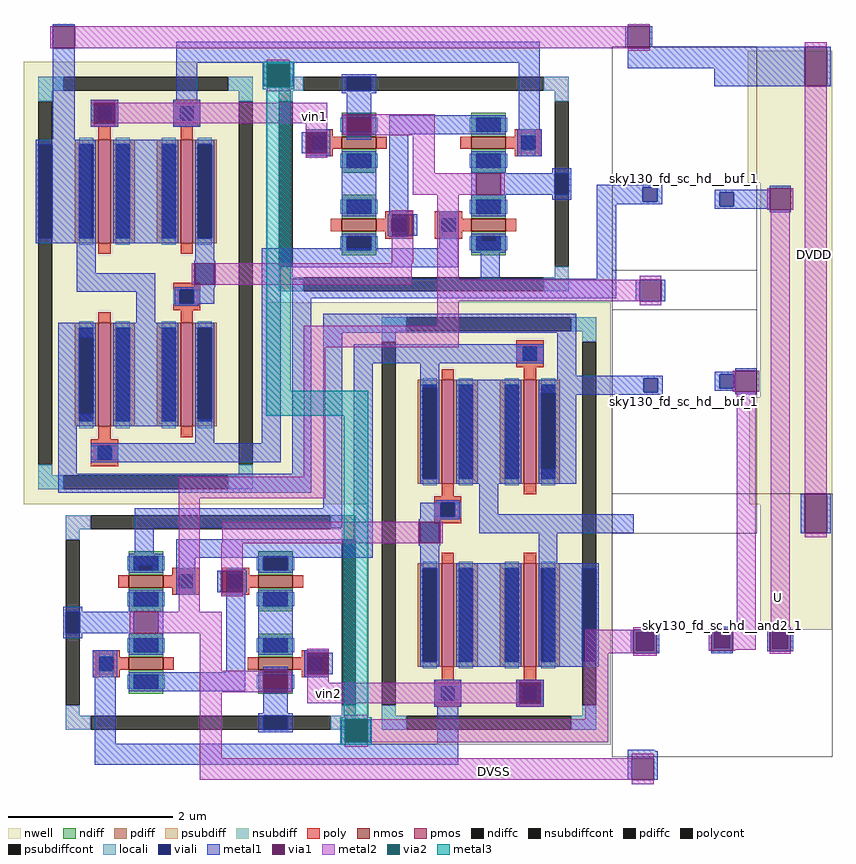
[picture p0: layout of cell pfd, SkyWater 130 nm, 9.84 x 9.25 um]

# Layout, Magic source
magic
tech sky130A
magscale 1 2
<< nwell >>
rect 1762 782 1968 1103
rect 594 1 848 491
rect 1792 260 1968 782
rect 594 0 835 1
rect 1429 -306 1432 260
rect 1765 -1 1968 260
rect 1792 -306 1968 -1
<< viali >>
rect 1507 736 1542 771
rect 1694 725 1728 759
rect 1509 272 1543 306
rect 1694 282 1728 316
rect 1489 -357 1534 -312
rect 1679 -351 1719 -311
rect 1821 -352 1861 -312
<< metal1 >>
rect 71 1162 124 1168
rect 1464 1109 1470 1162
rect 1523 1113 1529 1162
rect 1523 1109 1901 1113
rect 71 829 124 1109
rect 584 1069 656 1096
rect 584 1016 594 1069
rect 646 1016 656 1069
rect 1470 1060 1901 1109
rect 1681 1017 1901 1060
rect 1954 1017 1964 1113
rect 1395 771 1554 777
rect 1395 736 1507 771
rect 1542 736 1554 771
rect 1815 768 1867 774
rect 1395 730 1554 736
rect 1682 759 1815 765
rect 1395 548 1442 730
rect 1682 725 1694 759
rect 1728 725 1815 759
rect 1682 719 1815 725
rect 1815 710 1867 716
rect 1109 501 1442 548
rect 1489 494 1499 546
rect 1551 494 1561 546
rect 1732 325 1784 331
rect 1682 316 1732 322
rect 1299 306 1555 312
rect 1299 272 1509 306
rect 1543 272 1555 306
rect 1682 282 1694 316
rect 1728 282 1732 316
rect 1682 276 1732 282
rect 1299 266 1555 272
rect 1732 267 1784 273
rect 1225 -71 1484 -25
rect 1891 -71 1901 25
rect 1954 -71 1964 25
rect 1673 -305 1725 -299
rect 1477 -363 1483 -306
rect 1540 -363 1546 -306
rect 1673 -363 1725 -357
rect 1809 -358 1815 -306
rect 1867 -358 1873 -306
rect 773 -578 783 -525
rect 835 -578 845 -525
rect 773 -606 845 -578
rect 1470 -600 1535 -598
rect 1474 -601 1539 -600
rect 1470 -618 1543 -601
rect 1470 -671 1480 -618
rect 1533 -671 1543 -618
<< via1 >>
rect 71 1109 124 1162
rect 1470 1109 1523 1162
rect 594 1016 646 1069
rect 1901 1017 1954 1113
rect 1815 716 1867 768
rect 1499 494 1551 546
rect 1732 273 1784 325
rect 1901 -71 1954 25
rect 1483 -312 1540 -306
rect 1483 -357 1489 -312
rect 1489 -357 1534 -312
rect 1534 -357 1540 -312
rect 1483 -363 1540 -357
rect 1673 -311 1725 -305
rect 1673 -351 1679 -311
rect 1679 -351 1719 -311
rect 1719 -351 1725 -311
rect 1673 -357 1725 -351
rect 1815 -312 1867 -306
rect 1815 -352 1821 -312
rect 1821 -352 1861 -312
rect 1861 -352 1867 -312
rect 1815 -358 1867 -352
rect 783 -578 835 -525
rect 1480 -671 1533 -618
<< metal2 >>
rect 1470 1162 1523 1168
rect 65 1109 71 1162
rect 124 1109 1470 1162
rect 1470 1103 1523 1109
rect 1901 1113 1954 1123
rect 592 1071 648 1081
rect 592 1004 648 1014
rect 690 932 722 953
rect 1007 546 1059 805
rect 1809 716 1815 768
rect 1867 716 1873 768
rect 1499 546 1551 556
rect 1007 494 1499 546
rect 1007 434 1059 494
rect 1499 484 1551 494
rect 682 382 1059 434
rect 682 66 734 382
rect 1726 273 1732 325
rect 1784 273 1790 325
rect 377 14 734 66
rect 377 -314 429 14
rect 1483 -306 1540 -300
rect 1735 -305 1781 273
rect 1818 -300 1864 716
rect 1901 25 1954 1017
rect 1901 -81 1954 -71
rect 1366 -363 1483 -306
rect 1667 -357 1673 -305
rect 1725 -354 1781 -305
rect 1815 -306 1867 -300
rect 1725 -357 1731 -354
rect 429 -618 482 -405
rect 718 -474 756 -449
rect 781 -523 837 -513
rect 1366 -523 1423 -363
rect 1483 -369 1540 -363
rect 1815 -364 1867 -358
rect 837 -580 1423 -523
rect 781 -590 837 -580
rect 1480 -618 1533 -608
rect 429 -671 1480 -618
rect 1480 -681 1533 -671
<< via2 >>
rect 592 1069 648 1071
rect 592 1016 594 1069
rect 594 1016 646 1069
rect 646 1016 648 1069
rect 592 1014 648 1016
rect 781 -525 837 -523
rect 781 -578 783 -525
rect 783 -578 835 -525
rect 835 -578 837 -525
rect 781 -580 837 -578
<< metal3 >>
rect 582 1071 658 1076
rect 582 1014 592 1071
rect 648 1014 658 1071
rect 582 1009 658 1014
rect 590 276 650 1009
rect 590 215 839 276
rect 779 -518 839 215
rect 771 -523 847 -518
rect 771 -580 781 -523
rect 837 -580 847 -523
rect 771 -585 847 -580
use tspc_dff  x1
transform 1 0 697 0 1 60
box -697 -60 635 1065
use tspc_dff  x2
transform -1 0 732 0 -1 431
box -697 -60 635 1065
use sky130_fd_sc_hd__and2_1  x3 $PDKPATH/libs.ref/sky130_fd_sc_hd/mag
transform -1 0 1930 0 1 -567
box -38 -48 498 592
use sky130_fd_sc_hd__buf_1  x4 $PDKPATH/libs.ref/sky130_fd_sc_hd/mag
transform 1 0 1470 0 -1 521
box -38 -48 314 592
use sky130_fd_sc_hd__buf_1  x5
transform 1 0 1470 0 1 521
box -38 -48 314 592
<< labels >>
flabel metal2 1147 -651 1147 -651 0 FreeSans 160 0 0 0 DVSS
port 0 nsew
flabel metal2 1925 607 1925 607 0 FreeSans 160 90 0 0 DVDD
port 1 nsew
flabel metal2 1837 -228 1837 -228 0 FreeSans 160 0 0 0 U
port 2 nsew
flabel metal2 1758 -266 1758 -266 0 FreeSans 160 0 0 0 D
port 3 nsew
flabel metal2 707 943 707 943 0 FreeSans 160 0 0 0 vin1
port 4 nsew
flabel metal2 741 -461 741 -461 0 FreeSans 160 0 0 0 vin2
port 5 nsew
<< end >>

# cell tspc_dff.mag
magic
tech sky130A
magscale 1 2
<< nwell >>
rect -623 605 -576 659
rect -613 82 -567 160
<< metal1 >>
rect -325 1014 559 1065
rect -532 865 -526 917
rect -474 865 -468 917
rect -325 866 -274 1014
rect -20 793 -10 845
rect 42 793 49 845
rect 508 800 559 1014
rect 521 700 563 734
rect -623 605 -576 659
rect 189 593 199 645
rect 251 593 261 645
rect 453 580 476 598
rect 423 579 476 580
rect -282 526 -230 532
rect -282 468 -230 474
rect -117 516 134 562
rect 415 552 476 579
rect -613 160 -567 381
rect -613 129 -521 160
rect -613 14 -567 129
rect -117 88 -71 516
rect 415 488 461 552
rect -342 42 -71 88
rect -43 441 461 488
rect -43 14 3 441
rect -613 -32 3 14
<< via1 >>
rect -526 865 -474 917
rect -10 793 42 845
rect 199 593 251 645
rect -282 474 -230 526
<< metal2 >>
rect -526 917 -474 923
rect -474 866 42 916
rect -526 859 -474 865
rect -10 845 42 866
rect -10 783 42 793
rect 199 645 251 655
rect 199 526 251 593
rect -288 474 -282 526
rect -230 474 248 526
use ncell_pfd  ncell_pfd_0
transform 0 -1 195 -1 0 900
box -86 -440 442 271
use pcell_pfd  pcell_pfd_0
transform -1 0 379 0 1 281
box 482 -341 1076 735
<< labels >>
flabel metal1 -602 644 -602 644 0 FreeSans 160 90 0 0 DVDD
port 0 nsew
flabel metal1 542 720 542 720 0 FreeSans 160 0 0 0 DVSS
port 1 nsew
flabel metal1 438 526 438 526 0 FreeSans 160 90 0 0 preOut
port 2 nsew
flabel metal1 -288 1038 -288 1038 0 FreeSans 160 0 0 0 rst
port 3 nsew
flabel metal2 -118 892 -118 892 0 FreeSans 160 0 0 0 vin
port 4 nsew
<< end >>

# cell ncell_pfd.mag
magic
tech sky130A
magscale 1 2
<< psubdiff >>
rect -80 237 -20 271
rect 382 237 442 271
rect -80 211 -46 237
rect -80 -400 -46 -374
rect 408 211 442 237
rect 408 -400 442 -374
rect -80 -434 -20 -400
rect 382 -434 442 -400
<< psubdiffcont >>
rect -20 237 382 271
rect -80 -374 -46 211
rect 408 -374 442 211
rect -20 -434 382 -400
<< locali >>
rect -80 237 -20 271
rect 382 237 442 271
rect -80 211 -46 237
rect -80 -400 -46 -374
rect 408 211 442 237
rect 408 -400 442 -374
rect -80 -434 -20 -400
rect 382 -434 442 -400
<< viali >>
rect -80 46 -46 106
rect 155 -434 207 -400
<< metal1 >>
rect 48 146 114 206
rect -86 106 -40 118
rect -86 46 -80 106
rect -46 46 11 106
rect 63 46 73 106
rect -86 34 -40 46
rect 102 34 260 118
rect 14 -44 310 2
rect 14 -270 60 -44
rect 338 -119 384 118
rect 248 -165 384 -119
rect 102 -209 260 -197
rect 102 -269 155 -209
rect 207 -269 260 -209
rect 302 -223 348 -197
rect 102 -281 260 -269
rect 48 -369 114 -309
rect 155 -394 207 -281
rect 143 -400 219 -394
rect 143 -434 155 -400
rect 207 -434 219 -400
rect 143 -440 219 -434
<< via1 >>
rect 11 46 63 106
rect 155 -269 207 -209
<< metal2 >>
rect 11 106 63 116
rect 11 -55 63 46
rect 11 -108 207 -55
rect 155 -209 207 -108
rect 155 -279 207 -269
use sky130_fd_pr__nfet_01v8_7XSGLL  sky130_fd_pr__nfet_01v8_7XSGLL_0
transform 1 0 81 0 -1 -270
box -73 -99 73 99
use sky130_fd_pr__nfet_01v8_7XSGLL  sky130_fd_pr__nfet_01v8_7XSGLL_1
transform 1 0 81 0 1 107
box -73 -99 73 99
use sky130_fd_pr__nfet_01v8_7XSGLL  sky130_fd_pr__nfet_01v8_7XSGLL_2
transform 1 0 281 0 -1 45
box -73 -99 73 99
use sky130_fd_pr__nfet_01v8_7XSGLL  sky130_fd_pr__nfet_01v8_7XSGLL_3
transform 1 0 281 0 1 -208
box -73 -99 73 99
<< labels >>
flabel metal1 -20 84 -20 84 0 FreeSans 160 0 0 0 DVSS
port 0 nsew
flabel metal1 356 -56 356 -56 0 FreeSans 160 0 0 0 drain2
port 2 nsew
flabel metal1 326 -204 326 -204 0 FreeSans 160 0 0 0 preOut
port 3 nsew
flabel metal1 80 -366 80 -366 0 FreeSans 160 0 0 0 rst
port 4 nsew
flabel metal1 76 200 76 200 0 FreeSans 160 0 0 0 vin
port 5 nsew
flabel metal1 170 -27 170 -26 0 FreeSans 160 0 0 0 drain1
port 6 nsew
<< end >>

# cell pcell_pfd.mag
magic
tech sky130A
magscale 1 2
<< nwell >>
rect 482 -341 1076 735
<< nsubdiff >>
rect 518 665 578 699
rect 980 665 1040 699
rect 518 639 552 665
rect 518 -271 552 -245
rect 1006 639 1040 665
rect 1006 -271 1040 -245
rect 518 -305 578 -271
rect 980 -305 1040 -271
<< nsubdiffcont >>
rect 578 665 980 699
rect 518 -245 552 639
rect 1006 -245 1040 639
rect 578 -305 980 -271
<< locali >>
rect 518 665 578 699
rect 980 665 1040 699
rect 518 639 552 665
rect 518 -271 552 -245
rect 1006 639 1040 665
rect 1006 -271 1040 -245
rect 518 -305 578 -271
rect 980 -305 1040 -271
<< viali >>
rect 1006 306 1040 534
<< metal1 >>
rect 646 577 712 643
rect 846 577 912 643
rect 612 147 658 306
rect 700 294 858 546
rect 912 534 1046 546
rect 912 306 1006 534
rect 1040 306 1046 534
rect 912 304 1046 306
rect 900 294 1046 304
rect 900 221 946 294
rect 756 175 946 221
rect 756 100 802 175
rect 612 -193 658 -134
rect 700 -152 858 100
rect 900 65 947 100
rect 612 -239 912 -193
use sky130_fd_pr__pfet_01v8_SC63VW  sky130_fd_pr__pfet_01v8_SC63VW_0
transform -1 0 879 0 1 456
box -109 -224 109 190
use sky130_fd_pr__pfet_01v8_SC63VW  sky130_fd_pr__pfet_01v8_SC63VW_1
transform -1 0 679 0 1 456
box -109 -224 109 190
use sky130_fd_pr__pfet_01v8_SC63VW  sky130_fd_pr__pfet_01v8_SC63VW_3
transform 1 0 679 0 1 10
box -109 -224 109 190
use sky130_fd_pr__pfet_01v8_SC63VW  sky130_fd_pr__pfet_01v8_SC63VW_4
transform 1 0 879 0 -1 -62
box -109 -224 109 190
<< labels >>
flabel metal1 984 478 984 478 0 FreeSans 160 90 0 0 DVDD
port 0 nsew
flabel metal1 880 638 880 638 0 FreeSans 160 0 0 0 VIN
port 1 nsew
flabel metal1 678 636 678 636 0 FreeSans 160 0 0 0 RST
port 2 nsew
flabel metal1 640 222 640 222 0 FreeSans 160 90 0 0 drain1
port 3 nsew
flabel metal1 704 -216 704 -216 0 FreeSans 160 0 0 0 drain2
port 4 nsew
flabel metal1 922 92 922 92 0 FreeSans 160 0 0 0 preOut
port 5 nsew
<< end >>

# cell sky130_fd_pr__pfet_01v8_SC63VW: kit device sky130_fd_pr__pfet_01v8, w 1.26 l 0.15 m 1 nf 1 diffcov 100 polycov 100 guard 0 glc 1 grc 1 gtc 1 gbc 1 tbcov 100 rlcov 100 topc 1 botc 0 poverlap 0 doverlap 0 lmin 0.15 wmin 0.42 compatible {sky130_fd_pr__pfet_01v8 sky130_fd_pr__pfet_01v8_lvt sky130_fd_pr__pfet_01v8_hvt sky130_fd_pr__pfet_g5v0d10v5} full_metal 1 viasrc 100 viadrn 100 viagate 100 viagb 0 viagr 0 viagl 0 viagt 0

# cell sky130_fd_pr__nfet_01v8_7XSGLL: kit device sky130_fd_pr__nfet_01v8, w 0.420 l 0.150 m 1 nf 1 diffcov 100 polycov 100 guard 0 glc 1 grc 1 gtc 1 gbc 1 tbcov 100 rlcov 100 topc 1 botc 0 poverlap 0 doverlap 1 lmin 0.15 wmin 0.42 compatible {sky130_fd_pr__nfet_01v8 sky130_fd_pr__nfet_01v8_lvt sky130_fd_bs_flash__special_sonosfet_star sky130_fd_pr__nfet_g5v0d10v5 sky130_fd_pr__nfet_05v0_nvt sky130_fd_pr__nfet_03v3_nvt} full_metal 1 viasrc 100 viadrn 100 viagate 100 viagb 0 viagr 0 viagl 0 viagt 0
